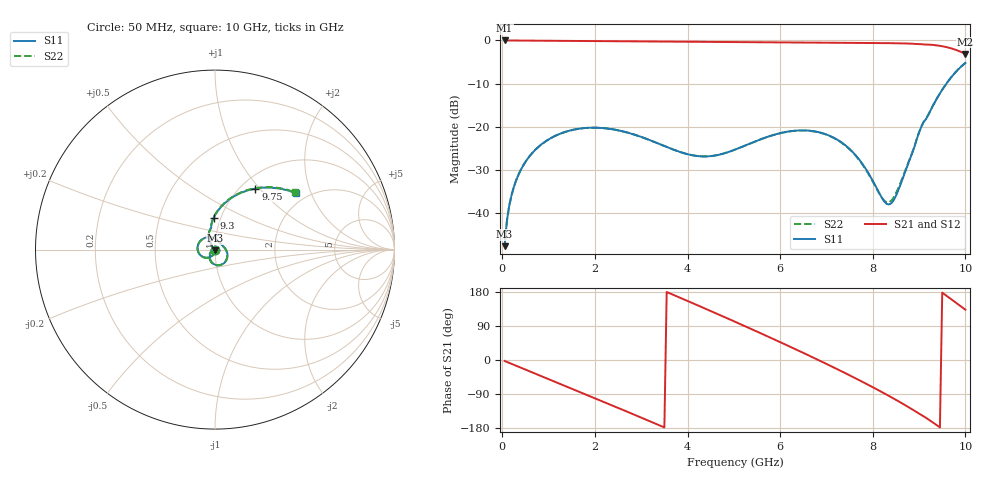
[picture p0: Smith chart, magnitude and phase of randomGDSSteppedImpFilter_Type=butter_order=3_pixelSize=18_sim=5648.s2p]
! freq	dB(S11)	phase(S11)	dB(S12)	phase(S12)
!  dB(S21)	phase(S21)	dB(S22)	phase(S22)
!S-par simulation data
#  GHz  S  DB  R 50
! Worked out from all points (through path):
!   200 points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, 50 MHz to 10 GHz, reference 50 ohm
!   highest |S21| = 0.00 dB at 50 MHz (marker M1); lowest = -3.1 dB at 10 GHz (marker M2)
!   group delay of S21, straight-line fit = 157 ps
!   lowest |S11| = -47.6 dB at 50 MHz (marker M3), VSWR 1.01, Z = 50 - j0.419 ohm
!   |S11| at or under -10 dB: start of sweep to 9.588 GHz
!   |S22| runs from -47.5 to -5.2 dB; largest |S21 - S12| = 0
!   S11 on the Smith chart (normalised r, x): 50 MHz: 1.00, -0.01; 9.3 GHz: 0.93, +0.34; 9.75 GHz: 1.16, +0.95; 10 GHz: 1.74, +1.57
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0.05  -47.55 -90.8  -0.00 -2.6  -0.00 -2.6  -47.52 -90.2
0.1  -41.65 -93.7  -0.01 -5.1  -0.01 -5.1  -41.66 -93.4
0.2  -35.75 -99.5  -0.02 -10.2  -0.02 -10.2  -35.76 -99.4
0.5  -28.07 -115.8  -0.04 -25.3  -0.04 -25.3  -28.07 -115.7
1.15  -22.01 -149.3  -0.09 -58.1  -0.09 -58.1  -22.01 -149.2
1.75  -20.28 -179.9  -0.14 -88.3  -0.14 -88.3  -20.28 -179.7
2.5  -20.77 141.5  -0.18 -126.4  -0.18 -126.4  -20.77 141.9
3.4  -23.97 94.4  -0.23 -172.7  -0.23 -172.7  -23.97 94.8
4.15  -26.63 54.7  -0.28 147.9  -0.28 147.9  -26.63 54.6
4.6  -26.59 31.7  -0.31 123.9  -0.31 123.9  -26.59 31.1
5.05  -25.13 9.3  -0.35 99.6  -0.35 99.6  -25.14 8.1
5.8  -22.02 -29.1  -0.41 58.4  -0.41 58.4  -22.04 -30.8
6.25  -20.94 -52.8  -0.45 33.1  -0.45 33.1  -20.96 -54.8
6.7  -20.94 -76.9  -0.49 7.3  -0.49 7.3  -20.98 -79.3
7.45  -24.61 -117.5  -0.54 -37.3  -0.54 -37.3  -24.69 -121.4
7.95  -31.49 -145.7  -0.58 -68.6  -0.58 -68.6  -31.66 -153.6
8.35  -37.92 168.6  -0.62 -94.8  -0.62 -94.8  -37.42 156.5
8.5  -35.93 145.6  -0.65 -105.1  -0.65 -105.1  -35.35 138.1
8.8  -27.46 124.0  -0.73 -126.5  -0.73 -126.5  -27.32 122.5
9.3  -15.05 92.4  -1.04 -165.0  -1.04 -165.0  -15.04 92.8
9.75  -7.79 56.5  -2.01 155.3  -2.01 155.3  -7.79 57.0
10  -5.20 34.9  -3.12 132.7  -3.12 132.7  -5.20 35.4
